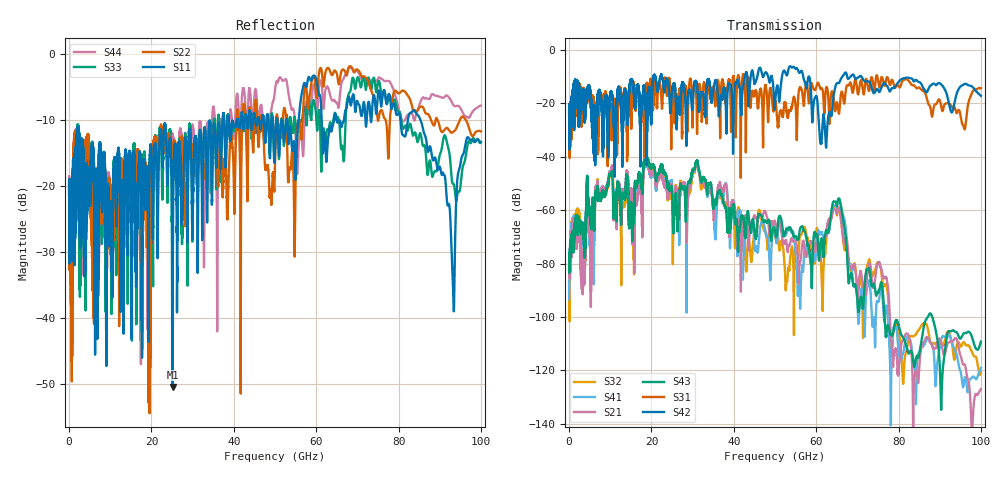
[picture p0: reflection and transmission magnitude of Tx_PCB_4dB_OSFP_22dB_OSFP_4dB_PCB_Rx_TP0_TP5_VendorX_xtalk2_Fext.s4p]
! Info: Touchstone file created by Circ.  Input file=Tx_PCB_4dB_OSFP_22dB_OSFP_4dB_PCB_Rx_TP0_TP5_VendorX.circ
# Hz S RI R 50
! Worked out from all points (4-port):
!   10000 points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, 10 MHz to 100 GHz, reference 50 ohm
!   strongest paths, dB at 10 MHz, 25.01 GHz, 50.01 GHz, 75.01 GHz, 100 GHz:
!     S42: -24.1, -16.0, -20.7, -14.9, -17.2
!     S31: -24.1, -17.4, -19.1, -11.1, -14.3
!     S43: -82.1, -53.1, -67.6, -90.8, -109.2
!     S21: -82.0, -53.4, -64.2, -79.8, -127.0
!     S41: -93.4, -50.7, -67.9, -94.2, -119.0
!     S32: -86.6, -56.1, -69.2, -79.8, -120.5
!   lowest |S11| = -50.4 dB at 25.12 GHz (marker M1), VSWR 1.01, Z = 50.1 + j0.289 ohm
!   |S11| at or under -10 dB: start of sweep to 37.29 GHz; 61.34 GHz to 64.34 GHz (2.998 GHz wide, 4.77 % of centre); 85.34 GHz to end of sweep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
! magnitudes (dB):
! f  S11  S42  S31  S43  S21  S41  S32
! 10 MHz  -21.1  -24.1  -24.1  -82.1  -82.0  -93.4  -86.6
! 10.13 GHz  -23.0  -16.4  -25.4  -46.7  -45.5  -45.4  -46.8
! 25.12 GHz  -50.4  -14.6  -15.2  -58.1  -58.2  -53.5  -65.0
! 65.56 GHz  -10.1  -12.4  -23.8  -55.6  -59.0  -55.7  -59.5
! 76.49 GHz  -5.4  -12.3  -12.9  -97.3  -85.2  -101.4  -87.9
! 93.26 GHz  -35.8  -22.1  -21.2  -105.0  -109.0  -110.9  -113.1
! 100 GHz  -13.4  -17.2  -14.3  -109.2  -127.0  -119.0  -120.5
